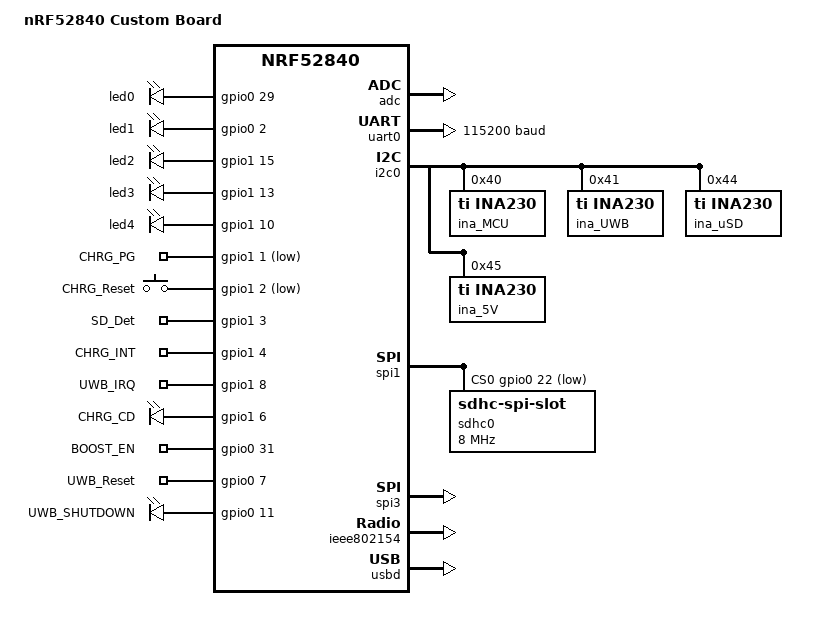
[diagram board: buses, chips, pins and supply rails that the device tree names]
/*
 * Copyright (c) 2022 Embla Flatlandsmo <embla.flatlandsmo@gmail.com>
 *
 * SPDX-License-Identifier: Apache-2.0
 */

/dts-v1/;
#include <nordic/nrf52840_qiaa.dtsi>
#include "nrf52840_customboard-pinctrl.dtsi"
#include <zephyr/dt-bindings/input/input-event-codes.h>
#include <zephyr/dt-bindings/sensor/ina230.h>

/ {
	model = "nRF52840 Custom Board";
	compatible = "udes,nrf52840_customboard";

	chosen {
		zephyr,console = &cdc_acm_uart0;
		zephyr,shell-uart = &cdc_acm_uart0;
		zephyr,uart-mcumgr = &cdc_acm_uart0;
		zephyr,bt-mon-uart = &cdc_acm_uart0;
		zephyr,bt-c2h-uart = &cdc_acm_uart0;
		zephyr,sram = &sram0;
		zephyr,flash = &flash0;
		zephyr,ieee802154 = &ieee802154;
		zephyr,code-partition = &slot0_partition;
	};

	leds {
		compatible = "gpio-leds";
		led0: led_0 {
			gpios = <&gpio0 29 0>;
			label = "led0";
		};

		led1: led_1 {
			gpios = <&gpio0 2 0>;
			label = "led1";
		};

		led2: led_2 {
			gpios = <&gpio1 15 0>;
			label = "led2";
		};
		led3: led_3 {
			gpios = <&gpio1 13 0>;
			label = "led3";
		};
		led4: led_4 {
			gpios = <&gpio1 10 0>;
			label = "led4";
		};
	};

	Input {
		compatible = "gpio-keys";
		CHRG_PG: CHRG_PG {
			gpios = <&gpio1 1 (GPIO_ACTIVE_LOW)>;
			label = "CHRG_PG";
		};

		CHRG_R: CHRG_Reset {
			gpios = <&gpio1 2 (GPIO_ACTIVE_LOW)>;
			label = "CHRG_Reset";
		};

		SD_Det: SD_Det {
			gpios = <&gpio1 3 0>;
			label = "SD_Det";
		};

		CHRG_INT: CHRG_INT {
			gpios = <&gpio1 4 0>;
			label = "CHRG_INT";
		};

		UWB_IRQ: UWB_IRQ {
			gpios = <&gpio1 8 0>;
			label = "UWB_IRQ";
		};
	};

	Output {
		compatible = "gpio-leds";
		CHRG_CD: CHRG_CD {
			gpios = <&gpio1 6 0>;
			label = "CHRG_CD";
		};

		BOOST_EN: BOOST_EN {
			gpios = <&gpio0 31 0>;
			label = "BOOST_EN";
		};

		UWB_RESET: UWB_Reset {
			gpios = <&gpio0 7 0>;
			label = "UWB_Reset";
		};

		UWB_SHUTDOWN: UWB_SHUTDOWN {
			gpios = <&gpio0 11 0>;
			label = "UWB_SHUTDOWN";
		};
	};

	/* These aliases are provided for compatibility with samples */
	aliases {
		led0 = &led0;
    	led1 = &led1;
    	led2 = &led2;
    	led3 = &led3;
    	led4 = &led4;
		chrg-pg = &CHRG_PG;
		chrg-r = &CHRG_R;
		sd-det = &SD_Det;
		chrg-int = &CHRG_INT;
		uwb-irq = &UWB_IRQ;
		chrg-cd = &CHRG_CD;
		boost-en = &BOOST_EN;
		uwb-r = &UWB_RESET;
		uwb-shutdown = &UWB_SHUTDOWN;
		watchdog0 = &wdt0;
	};
};

&adc {
	status = "okay";
};

&uicr {
	gpio-as-nreset;
};

&gpiote {
	status = "okay";
};

&gpio0 {
	status = "okay";
};

&gpio1 {
	status = "okay";
};

&uart0 {
	compatible = "nordic,nrf-uarte";
	current-speed = <115200>;
	status = "okay";
	pinctrl-0 = <&uart0_default>;
	pinctrl-1 = <&uart0_sleep>;
	pinctrl-names = "default", "sleep";
};

&i2c0 {
	compatible = "nordic,nrf-twi";
	status = "okay";
	pinctrl-0 = <&i2c0_default>;
	pinctrl-1 = <&i2c0_sleep>;
	pinctrl-names = "default", "sleep";
	
	ina_MCU: ina231@40 {
		compatible = "ti,ina230";
		reg = <0x40>;
		status = "okay";
		rshunt-micro-ohms = <30000>;
		current-lsb-microamps = <10>;
		adc-mode = "Bus and shunt voltage continuous";
		vbus-conversion-time-us = <1100>;
		vshunt-conversion-time-us = <1100>;
		avg-count = <1>;
		friendly-name = "INA_MCU_current";
	};
	ina_UWB: ina231@41 {
		compatible = "ti,ina230";
		reg = <0x41>;
		status = "okay";
		rshunt-micro-ohms = <30000>;
		current-lsb-microamps = <10>;
		adc-mode = "Bus and shunt voltage continuous";
		vbus-conversion-time-us = <1100>;
		vshunt-conversion-time-us = <1100>;
		avg-count = <1>;
		friendly-name = "INA_UWB_current";
	};
	ina_uSD: ina231@44 {
		compatible = "ti,ina230";
		reg = <0x44>;
		status = "okay";
		rshunt-micro-ohms = <30000>;
		current-lsb-microamps = <10>;
		adc-mode = "Bus and shunt voltage continuous";
		vbus-conversion-time-us = <1100>;
		vshunt-conversion-time-us = <1100>;
		avg-count = <1>;
		friendly-name = "INA_uSD_current";
	};
	ina_5V: ina231@45 {
		compatible = "ti,ina230";
		reg = <0x45>;
		status = "okay";
		rshunt-micro-ohms = <30000>;
		current-lsb-microamps = <10>;
		adc-mode = "Bus and Shunt Voltage single shot";
		vbus-conversion-time-us = <1100>;
		vshunt-conversion-time-us = <1100>;
		avg-count = <16>;
		friendly-name = "INA_5V_current";
	};
};
	

// SD card SPI
&spi1 {
	compatible = "nordic,nrf-spi";
	status = "okay";
	cs-gpios = <&gpio0 22 GPIO_ACTIVE_LOW>;
	pinctrl-0 = <&spi1_default>;
	pinctrl-1 = <&spi1_sleep>;
	pinctrl-names = "default", "sleep";

	sdhc0: sdhc@0 {
		compatible = "zephyr,sdhc-spi-slot";
		reg = <0>;
		status = "okay";
		spi-max-frequency = <8000000>;
		mmc {
			compatible = "zephyr,sdmmc-disk";
			status = "okay";
		};
	};
};

// UWB SPI
&spi3 {
    status = "okay";
    pinctrl-0 = <&spi3_default>;
	pinctrl-1 = <&spi3_sleep>;
    pinctrl-names = "default", "sleep";
    cs-gpios = <&gpio0 8 0>;
};

&ieee802154 {
	status = "okay";
};

&flash0 {
	partitions {
		compatible = "fixed-partitions";
		#address-cells = <1>;
		#size-cells = <1>;

		boot_partition: partition@0 {
			label = "mcuboot";
			reg = <0x0 0xc000>;
		};
		slot0_partition: partition@c000 {
			label = "image-0";
			reg = <0xc000 0x72000>;
		};
		slot1_partition: partition@7e000 {
			label = "image-1";
			reg = <0x7e000 0x72000>;
		};
		scratch_partition: partition@f0000 {
			label = "image-scratch";
			reg = <0xf0000 0xa000>;
		};
		storage_partition: partition@fa000 {
			label = "storage";
			reg = <0xfa000 0x6000>;
		};
	};
};

zephyr_udc0: &usbd {
	compatible = "nordic,nrf-usbd";
	status = "okay";

	cdc_acm_uart0: cdc_acm_uart0 {
		compatible = "zephyr,cdc-acm-uart";
	};
};

&power {
	status = "okay";
};

&clock {
	status = "okay";
};
